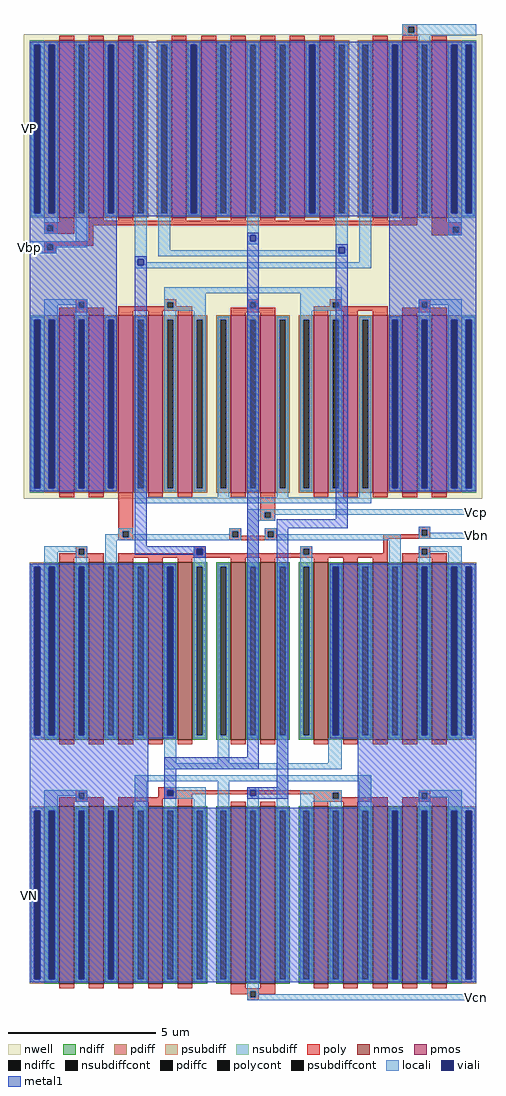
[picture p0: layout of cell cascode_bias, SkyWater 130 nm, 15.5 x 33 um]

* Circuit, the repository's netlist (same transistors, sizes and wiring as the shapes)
* SPICE3 file created from cascode_bias_copy.ext - technology: sky130A


* Top level circuit cascode_bias_copy

X0 a_860_30# Vbp VP VP sky130_fd_pr__pfet_01v8 ad=3e+12p pd=1.3e+07u as=3.6e+13p ps=1.56e+08u w=6e+06u l=500000u
X1 a_300_n1830# a_100_n3500# VP VP sky130_fd_pr__pfet_01v8 ad=1.2e+13p pd=5.2e+07u as=0p ps=0u w=6e+06u l=500000u
X2 a_300_n1830# Vcp Vcp VP sky130_fd_pr__pfet_01v8 ad=0p pd=0u as=3e+12p ps=1.3e+07u w=6e+06u l=500000u
X3 VN Vbn Vbn VN sky130_fd_pr__nfet_01v8 ad=4.2e+13p pd=1.82e+08u as=6e+12p ps=2.6e+07u w=6e+06u l=500000u
X4 a_200_n5180# a_200_n5180# a_300_n5150# VN sky130_fd_pr__nfet_01v8 ad=1.2e+13p pd=5.2e+07u as=1.2e+13p ps=5.2e+07u w=6e+06u l=500000u
X5 VP Vbp Vbp VP sky130_fd_pr__pfet_01v8 ad=0p pd=0u as=6e+12p ps=2.6e+07u w=6e+06u l=500000u
X6 a_100_n3500# a_100_n3500# a_300_n1830# VP sky130_fd_pr__pfet_01v8 ad=1.2e+13p pd=5.2e+07u as=0p ps=0u w=6e+06u l=500000u
X7 a_100_n3500# VN VN VN sky130_fd_pr__nfet_01v8 ad=6e+12p pd=2.6e+07u as=0p ps=0u w=6e+06u l=500000u
X8 a_1820_n3500# Vbn VN VN sky130_fd_pr__nfet_01v8 ad=3e+12p pd=1.3e+07u as=0p ps=0u w=6e+06u l=500000u
X9 a_200_n5180# a_200_n5180# a_200_n5180# VN sky130_fd_pr__nfet_01v8 ad=0p pd=0u as=0p ps=0u w=6e+06u l=500000u
X10 Vbp VP VP VP sky130_fd_pr__pfet_01v8 ad=0p pd=0u as=0p ps=0u w=6e+06u l=500000u
X11 Vbp Vbp VP VP sky130_fd_pr__pfet_01v8 ad=0p pd=0u as=0p ps=0u w=6e+06u l=500000u
X12 a_1260_30# Vbp a_200_n5180# VP sky130_fd_pr__pfet_01v8 ad=3e+12p pd=1.3e+07u as=3e+12p ps=1.3e+07u w=6e+06u l=500000u
X13 a_100_n3500# a_100_n3500# a_100_n3500# VP sky130_fd_pr__pfet_01v8 ad=0p pd=0u as=0p ps=0u w=6e+06u l=500000u
X14 a_100_n3500# Vbn a_1820_n3500# VN sky130_fd_pr__nfet_01v8 ad=0p pd=0u as=0p ps=0u w=6e+06u l=500000u
X15 VN VN VN VN sky130_fd_pr__nfet_01v8 ad=0p pd=0u as=0p ps=0u w=6e+06u l=500000u
X16 a_200_n5180# Vbp a_860_30# VP sky130_fd_pr__pfet_01v8 ad=0p pd=0u as=0p ps=0u w=6e+06u l=500000u
X17 VP VP VP VP sky130_fd_pr__pfet_01v8 ad=0p pd=0u as=0p ps=0u w=6e+06u l=500000u
X18 VN Vbn Vcp VN sky130_fd_pr__nfet_01v8 ad=0p pd=0u as=3e+12p ps=1.3e+07u w=6e+06u l=500000u
X19 VN VN VN VN sky130_fd_pr__nfet_01v8 ad=0p pd=0u as=0p ps=0u w=6e+06u l=500000u
X20 a_300_n3500# Vbn a_100_n3500# VN sky130_fd_pr__nfet_01v8 ad=3e+12p pd=1.3e+07u as=0p ps=0u w=6e+06u l=500000u
X21 VN VN VN VN sky130_fd_pr__nfet_01v8 ad=0p pd=0u as=0p ps=0u w=6e+06u l=500000u
X22 VP Vbp Vbn VP sky130_fd_pr__pfet_01v8 ad=0p pd=0u as=6e+12p ps=2.6e+07u w=6e+06u l=500000u
X23 VP VP VP VP sky130_fd_pr__pfet_01v8 ad=0p pd=0u as=0p ps=0u w=6e+06u l=500000u
X24 VP VP VP VP sky130_fd_pr__pfet_01v8 ad=0p pd=0u as=0p ps=0u w=6e+06u l=500000u
X25 VN Vbn a_300_n3500# VN sky130_fd_pr__nfet_01v8 ad=0p pd=0u as=0p ps=0u w=6e+06u l=500000u
X26 Vcn Vcn a_300_n5150# VN sky130_fd_pr__nfet_01v8 ad=3e+12p pd=1.3e+07u as=0p ps=0u w=6e+06u l=500000u
X27 VP VP Vbp VP sky130_fd_pr__pfet_01v8 ad=0p pd=0u as=0p ps=0u w=6e+06u l=500000u
X28 Vbn Vbn VN VN sky130_fd_pr__nfet_01v8 ad=0p pd=0u as=0p ps=0u w=6e+06u l=500000u
X29 VP Vbp a_1260_30# VP sky130_fd_pr__pfet_01v8 ad=0p pd=0u as=0p ps=0u w=6e+06u l=500000u
X30 Vcp Vcp a_300_n1830# VP sky130_fd_pr__pfet_01v8 ad=0p pd=0u as=0p ps=0u w=6e+06u l=500000u
X31 VP Vbp Vcn VP sky130_fd_pr__pfet_01v8 ad=0p pd=0u as=6e+12p ps=2.6e+07u w=6e+06u l=500000u
X32 VN VN a_100_n3500# VN sky130_fd_pr__nfet_01v8 ad=0p pd=0u as=0p ps=0u w=6e+06u l=500000u
X33 a_200_n5180# a_200_n5180# a_200_n5180# VN sky130_fd_pr__nfet_01v8 ad=0p pd=0u as=0p ps=0u w=6e+06u l=500000u
X34 Vbn Vbp VP VP sky130_fd_pr__pfet_01v8 ad=0p pd=0u as=0p ps=0u w=6e+06u l=500000u
X35 VN VN VN VN sky130_fd_pr__nfet_01v8 ad=0p pd=0u as=0p ps=0u w=6e+06u l=500000u
X36 VN VN VN VN sky130_fd_pr__nfet_01v8 ad=0p pd=0u as=0p ps=0u w=6e+06u l=500000u
X37 a_300_n5150# a_200_n5180# a_200_n5180# VN sky130_fd_pr__nfet_01v8 ad=0p pd=0u as=0p ps=0u w=6e+06u l=500000u
X38 a_100_n3500# a_100_n3500# a_100_n3500# VP sky130_fd_pr__pfet_01v8 ad=0p pd=0u as=0p ps=0u w=6e+06u l=500000u
X39 VN VN VN VN sky130_fd_pr__nfet_01v8 ad=0p pd=0u as=0p ps=0u w=6e+06u l=500000u
X40 VP VP VP VP sky130_fd_pr__pfet_01v8 ad=0p pd=0u as=0p ps=0u w=6e+06u l=500000u
X41 VN a_200_n5180# a_300_n5150# VN sky130_fd_pr__nfet_01v8 ad=0p pd=0u as=0p ps=0u w=6e+06u l=500000u
X42 a_300_n1830# a_100_n3500# a_100_n3500# VP sky130_fd_pr__pfet_01v8 ad=0p pd=0u as=0p ps=0u w=6e+06u l=500000u
X43 Vcp Vbn VN VN sky130_fd_pr__nfet_01v8 ad=0p pd=0u as=0p ps=0u w=6e+06u l=500000u
X44 a_300_n5150# Vcn Vcn VN sky130_fd_pr__nfet_01v8 ad=0p pd=0u as=0p ps=0u w=6e+06u l=500000u
X45 Vcn Vbp VP VP sky130_fd_pr__pfet_01v8 ad=0p pd=0u as=0p ps=0u w=6e+06u l=500000u
X46 VP a_100_n3500# a_300_n1830# VP sky130_fd_pr__pfet_01v8 ad=0p pd=0u as=0p ps=0u w=6e+06u l=500000u
X47 a_300_n5150# a_200_n5180# VN VN sky130_fd_pr__nfet_01v8 ad=0p pd=0u as=0p ps=0u w=6e+06u l=500000u
.end

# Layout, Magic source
magic
tech sky130A
<< nwell >>
rect -220 -935 1330 635
<< nmos >>
rect -100 -1750 -50 -1150
rect 0 -1750 50 -1150
rect 100 -1750 150 -1150
rect 200 -1750 250 -1150
rect 300 -1750 350 -1150
rect 480 -1750 530 -1150
rect 580 -1750 630 -1150
rect 760 -1750 810 -1150
rect 860 -1750 910 -1150
rect 960 -1750 1010 -1150
rect 1060 -1750 1110 -1150
rect 1160 -1750 1210 -1150
rect -100 -2575 -50 -1975
rect 0 -2575 50 -1975
rect 100 -2575 150 -1975
rect 200 -2575 250 -1975
rect 300 -2575 350 -1975
rect 480 -2575 530 -1975
rect 580 -2575 630 -1975
rect 760 -2575 810 -1975
rect 860 -2575 910 -1975
rect 960 -2575 1010 -1975
rect 1060 -2575 1110 -1975
rect 1160 -2575 1210 -1975
<< pmos >>
rect -100 15 -50 615
rect 0 15 50 615
rect 100 15 150 615
rect 280 15 330 615
rect 380 15 430 615
rect 480 15 530 615
rect 580 15 630 615
rect 680 15 730 615
rect 780 15 830 615
rect 960 15 1010 615
rect 1060 15 1110 615
rect 1160 15 1210 615
rect -100 -915 -50 -315
rect 0 -915 50 -315
rect 100 -915 150 -315
rect 200 -915 250 -315
rect 300 -915 350 -315
rect 480 -915 530 -315
rect 580 -915 630 -315
rect 760 -915 810 -315
rect 860 -915 910 -315
rect 960 -915 1010 -315
rect 1060 -915 1110 -315
rect 1160 -915 1210 -315
<< ndiff >>
rect -150 -1165 -100 -1150
rect -150 -1735 -135 -1165
rect -115 -1735 -100 -1165
rect -150 -1750 -100 -1735
rect -50 -1165 0 -1150
rect -50 -1735 -35 -1165
rect -15 -1735 0 -1165
rect -50 -1750 0 -1735
rect 50 -1165 100 -1150
rect 50 -1735 65 -1165
rect 85 -1735 100 -1165
rect 50 -1750 100 -1735
rect 150 -1165 200 -1150
rect 150 -1735 165 -1165
rect 185 -1735 200 -1165
rect 150 -1750 200 -1735
rect 250 -1165 300 -1150
rect 250 -1735 265 -1165
rect 285 -1735 300 -1165
rect 250 -1750 300 -1735
rect 350 -1165 400 -1150
rect 350 -1735 365 -1165
rect 385 -1735 400 -1165
rect 350 -1750 400 -1735
rect 430 -1165 480 -1150
rect 430 -1735 445 -1165
rect 465 -1735 480 -1165
rect 430 -1750 480 -1735
rect 530 -1165 580 -1150
rect 530 -1735 545 -1165
rect 565 -1735 580 -1165
rect 530 -1750 580 -1735
rect 630 -1165 680 -1150
rect 630 -1735 645 -1165
rect 665 -1735 680 -1165
rect 630 -1750 680 -1735
rect 710 -1165 760 -1150
rect 710 -1735 725 -1165
rect 745 -1735 760 -1165
rect 710 -1750 760 -1735
rect 810 -1165 860 -1150
rect 810 -1735 825 -1165
rect 845 -1735 860 -1165
rect 810 -1750 860 -1735
rect 910 -1165 960 -1150
rect 910 -1735 925 -1165
rect 945 -1735 960 -1165
rect 910 -1750 960 -1735
rect 1010 -1165 1060 -1150
rect 1010 -1735 1025 -1165
rect 1045 -1735 1060 -1165
rect 1010 -1750 1060 -1735
rect 1110 -1165 1160 -1150
rect 1110 -1735 1125 -1165
rect 1145 -1735 1160 -1165
rect 1110 -1750 1160 -1735
rect 1210 -1165 1260 -1150
rect 1210 -1735 1225 -1165
rect 1245 -1735 1260 -1165
rect 1210 -1750 1260 -1735
rect -150 -1990 -100 -1975
rect -150 -2560 -135 -1990
rect -115 -2560 -100 -1990
rect -150 -2575 -100 -2560
rect -50 -1990 0 -1975
rect -50 -2560 -35 -1990
rect -15 -2560 0 -1990
rect -50 -2575 0 -2560
rect 50 -1990 100 -1975
rect 50 -2560 65 -1990
rect 85 -2560 100 -1990
rect 50 -2575 100 -2560
rect 150 -1990 200 -1975
rect 150 -2560 165 -1990
rect 185 -2560 200 -1990
rect 150 -2575 200 -2560
rect 250 -1990 300 -1975
rect 250 -2560 265 -1990
rect 285 -2560 300 -1990
rect 250 -2575 300 -2560
rect 350 -1990 400 -1975
rect 350 -2560 365 -1990
rect 385 -2560 400 -1990
rect 350 -2575 400 -2560
rect 430 -1990 480 -1975
rect 430 -2560 445 -1990
rect 465 -2560 480 -1990
rect 430 -2575 480 -2560
rect 530 -1990 580 -1975
rect 530 -2560 545 -1990
rect 565 -2560 580 -1990
rect 530 -2575 580 -2560
rect 630 -1990 680 -1975
rect 630 -2560 645 -1990
rect 665 -2560 680 -1990
rect 630 -2575 680 -2560
rect 710 -1990 760 -1975
rect 710 -2560 725 -1990
rect 745 -2560 760 -1990
rect 710 -2575 760 -2560
rect 810 -1990 860 -1975
rect 810 -2560 825 -1990
rect 845 -2560 860 -1990
rect 810 -2575 860 -2560
rect 910 -1990 960 -1975
rect 910 -2560 925 -1990
rect 945 -2560 960 -1990
rect 910 -2575 960 -2560
rect 1010 -1990 1060 -1975
rect 1010 -2560 1025 -1990
rect 1045 -2560 1060 -1990
rect 1010 -2575 1060 -2560
rect 1110 -1990 1160 -1975
rect 1110 -2560 1125 -1990
rect 1145 -2560 1160 -1990
rect 1110 -2575 1160 -2560
rect 1210 -1990 1260 -1975
rect 1210 -2560 1225 -1990
rect 1245 -2560 1260 -1990
rect 1210 -2575 1260 -2560
<< pdiff >>
rect -150 600 -100 615
rect -150 30 -135 600
rect -115 30 -100 600
rect -150 15 -100 30
rect -50 600 0 615
rect -50 30 -35 600
rect -15 30 0 600
rect -50 15 0 30
rect 50 600 100 615
rect 50 30 65 600
rect 85 30 100 600
rect 50 15 100 30
rect 150 600 200 615
rect 150 30 165 600
rect 185 30 200 600
rect 150 15 200 30
rect 230 600 280 615
rect 230 30 245 600
rect 265 30 280 600
rect 230 15 280 30
rect 330 600 380 615
rect 330 30 345 600
rect 365 30 380 600
rect 330 15 380 30
rect 430 600 480 615
rect 430 30 445 600
rect 465 30 480 600
rect 430 15 480 30
rect 530 600 580 615
rect 530 30 545 600
rect 565 30 580 600
rect 530 15 580 30
rect 630 600 680 615
rect 630 30 645 600
rect 665 30 680 600
rect 630 15 680 30
rect 730 600 780 615
rect 730 30 745 600
rect 765 30 780 600
rect 730 15 780 30
rect 830 600 880 615
rect 830 30 845 600
rect 865 30 880 600
rect 830 15 880 30
rect 910 600 960 615
rect 910 30 925 600
rect 945 30 960 600
rect 910 15 960 30
rect 1010 600 1060 615
rect 1010 30 1025 600
rect 1045 30 1060 600
rect 1010 15 1060 30
rect 1110 600 1160 615
rect 1110 30 1125 600
rect 1145 30 1160 600
rect 1110 15 1160 30
rect 1210 600 1260 615
rect 1210 30 1225 600
rect 1245 30 1260 600
rect 1210 15 1260 30
rect -150 -330 -100 -315
rect -150 -900 -135 -330
rect -115 -900 -100 -330
rect -150 -915 -100 -900
rect -50 -330 0 -315
rect -50 -900 -35 -330
rect -15 -900 0 -330
rect -50 -915 0 -900
rect 50 -330 100 -315
rect 50 -900 65 -330
rect 85 -900 100 -330
rect 50 -915 100 -900
rect 150 -330 200 -315
rect 150 -900 165 -330
rect 185 -900 200 -330
rect 150 -915 200 -900
rect 250 -330 300 -315
rect 250 -900 265 -330
rect 285 -900 300 -330
rect 250 -915 300 -900
rect 350 -330 400 -315
rect 350 -900 365 -330
rect 385 -900 400 -330
rect 350 -915 400 -900
rect 430 -330 480 -315
rect 430 -900 445 -330
rect 465 -900 480 -330
rect 430 -915 480 -900
rect 530 -330 580 -315
rect 530 -900 545 -330
rect 565 -900 580 -330
rect 530 -915 580 -900
rect 630 -330 680 -315
rect 630 -900 645 -330
rect 665 -900 680 -330
rect 630 -915 680 -900
rect 710 -330 760 -315
rect 710 -900 725 -330
rect 745 -900 760 -330
rect 710 -915 760 -900
rect 810 -330 860 -315
rect 810 -900 825 -330
rect 845 -900 860 -330
rect 810 -915 860 -900
rect 910 -330 960 -315
rect 910 -900 925 -330
rect 945 -900 960 -330
rect 910 -915 960 -900
rect 1010 -330 1060 -315
rect 1010 -900 1025 -330
rect 1045 -900 1060 -330
rect 1010 -915 1060 -900
rect 1110 -330 1160 -315
rect 1110 -900 1125 -330
rect 1145 -900 1160 -330
rect 1110 -915 1160 -900
rect 1210 -330 1260 -315
rect 1210 -900 1225 -330
rect 1245 -900 1260 -330
rect 1210 -915 1260 -900
<< ndiffc >>
rect -135 -1735 -115 -1165
rect -35 -1735 -15 -1165
rect 65 -1735 85 -1165
rect 165 -1735 185 -1165
rect 265 -1735 285 -1165
rect 365 -1735 385 -1165
rect 445 -1735 465 -1165
rect 545 -1735 565 -1165
rect 645 -1735 665 -1165
rect 725 -1735 745 -1165
rect 825 -1735 845 -1165
rect 925 -1735 945 -1165
rect 1025 -1735 1045 -1165
rect 1125 -1735 1145 -1165
rect 1225 -1735 1245 -1165
rect -135 -2560 -115 -1990
rect -35 -2560 -15 -1990
rect 65 -2560 85 -1990
rect 165 -2560 185 -1990
rect 265 -2560 285 -1990
rect 365 -2560 385 -1990
rect 445 -2560 465 -1990
rect 545 -2560 565 -1990
rect 645 -2560 665 -1990
rect 725 -2560 745 -1990
rect 825 -2560 845 -1990
rect 925 -2560 945 -1990
rect 1025 -2560 1045 -1990
rect 1125 -2560 1145 -1990
rect 1225 -2560 1245 -1990
<< pdiffc >>
rect -135 30 -115 600
rect -35 30 -15 600
rect 65 30 85 600
rect 165 30 185 600
rect 245 30 265 600
rect 345 30 365 600
rect 445 30 465 600
rect 545 30 565 600
rect 645 30 665 600
rect 745 30 765 600
rect 845 30 865 600
rect 925 30 945 600
rect 1025 30 1045 600
rect 1125 30 1145 600
rect 1225 30 1245 600
rect -135 -900 -115 -330
rect -35 -900 -15 -330
rect 65 -900 85 -330
rect 165 -900 185 -330
rect 265 -900 285 -330
rect 365 -900 385 -330
rect 445 -900 465 -330
rect 545 -900 565 -330
rect 645 -900 665 -330
rect 725 -900 745 -330
rect 825 -900 845 -330
rect 925 -900 945 -330
rect 1025 -900 1045 -330
rect 1125 -900 1145 -330
rect 1225 -900 1245 -330
<< psubdiff >>
rect -200 -1165 -150 -1150
rect -200 -1735 -185 -1165
rect -165 -1735 -150 -1165
rect -200 -1750 -150 -1735
rect 1260 -1165 1310 -1150
rect 1260 -1735 1275 -1165
rect 1295 -1735 1310 -1165
rect 1260 -1750 1310 -1735
rect -200 -1990 -150 -1975
rect -200 -2560 -185 -1990
rect -165 -2560 -150 -1990
rect -200 -2575 -150 -2560
rect 1260 -1990 1310 -1975
rect 1260 -2560 1275 -1990
rect 1295 -2560 1310 -1990
rect 1260 -2575 1310 -2560
<< nsubdiff >>
rect -200 600 -150 615
rect -200 30 -185 600
rect -165 30 -150 600
rect -200 15 -150 30
rect 1260 600 1310 615
rect 1260 30 1275 600
rect 1295 30 1310 600
rect 1260 15 1310 30
rect -200 -330 -150 -315
rect -200 -900 -185 -330
rect -165 -900 -150 -330
rect -200 -915 -150 -900
rect 1260 -330 1310 -315
rect 1260 -900 1275 -330
rect 1295 -900 1310 -330
rect 1260 -915 1310 -900
<< psubdiffcont >>
rect -185 -1735 -165 -1165
rect 1275 -1735 1295 -1165
rect -185 -2560 -165 -1990
rect 1275 -2560 1295 -1990
<< nsubdiffcont >>
rect -185 30 -165 600
rect 1275 30 1295 600
rect -185 -900 -165 -330
rect 1275 -900 1295 -330
<< poly >>
rect 1060 660 1110 670
rect 1060 640 1080 660
rect 1100 640 1110 660
rect -100 615 -50 630
rect 0 615 50 630
rect 100 615 150 630
rect 280 615 330 630
rect 380 615 430 630
rect 480 615 530 630
rect 580 615 630 630
rect 680 615 730 630
rect 780 615 830 630
rect 960 615 1010 630
rect 1060 615 1110 640
rect 1160 615 1210 630
rect -100 0 -50 15
rect -150 -10 -50 0
rect -150 -30 -140 -10
rect -120 -30 -50 -10
rect -150 -40 -50 -30
rect 0 5 50 15
rect 100 5 150 15
rect 280 5 330 15
rect 380 5 430 15
rect 480 5 530 15
rect 580 5 630 15
rect 680 5 730 15
rect 780 5 830 15
rect 960 5 1010 15
rect 1060 5 1110 15
rect 0 -10 1110 5
rect 1160 0 1210 15
rect 0 -65 15 -10
rect 1160 -15 1260 0
rect 1160 -35 1230 -15
rect 1250 -35 1260 -15
rect 1160 -45 1260 -35
rect -150 -75 15 -65
rect -150 -95 -140 -75
rect -120 -80 15 -75
rect -120 -95 -110 -80
rect -150 -105 -110 -95
rect -45 -270 -5 -260
rect -45 -290 -35 -270
rect -15 -290 -5 -270
rect 255 -270 295 -260
rect 255 -285 265 -270
rect 100 -290 265 -285
rect 285 -285 295 -270
rect 535 -270 575 -260
rect 285 -290 350 -285
rect 535 -290 545 -270
rect 565 -290 575 -270
rect 815 -270 855 -260
rect 815 -285 825 -270
rect 760 -290 825 -285
rect 845 -285 855 -270
rect 1115 -270 1155 -260
rect 845 -290 1010 -285
rect 1115 -290 1125 -270
rect 1145 -290 1155 -270
rect -100 -305 50 -290
rect -100 -315 -50 -305
rect 0 -315 50 -305
rect 100 -300 350 -290
rect 100 -315 150 -300
rect 200 -315 250 -300
rect 300 -315 350 -300
rect 480 -305 630 -290
rect 480 -315 530 -305
rect 580 -315 630 -305
rect 760 -300 1010 -290
rect 760 -315 810 -300
rect 860 -315 910 -300
rect 960 -315 1010 -300
rect 1060 -305 1210 -290
rect 1060 -315 1110 -305
rect 1160 -315 1210 -305
rect -100 -930 -50 -915
rect 0 -930 50 -915
rect 100 -1045 150 -915
rect 200 -930 250 -915
rect 300 -930 350 -915
rect 480 -930 530 -915
rect 580 -980 630 -915
rect 760 -930 810 -915
rect 860 -930 910 -915
rect 960 -930 1010 -915
rect 1060 -930 1110 -915
rect 1160 -930 1210 -915
rect 580 -1000 595 -980
rect 615 -1000 630 -980
rect 580 -1010 630 -1000
rect 100 -1065 115 -1045
rect 135 -1065 150 -1045
rect 100 -1075 150 -1065
rect 475 -1045 515 -1035
rect 475 -1065 485 -1045
rect 505 -1060 515 -1045
rect 595 -1045 635 -1035
rect 595 -1060 605 -1045
rect 505 -1065 605 -1060
rect 625 -1065 635 -1045
rect 1115 -1040 1155 -1030
rect 1115 -1055 1125 -1040
rect 475 -1075 635 -1065
rect 995 -1060 1125 -1055
rect 1145 -1060 1155 -1040
rect 995 -1070 1155 -1060
rect -45 -1105 -5 -1095
rect -45 -1120 -35 -1105
rect -100 -1125 -35 -1120
rect -15 -1120 -5 -1105
rect 355 -1105 395 -1095
rect 355 -1120 365 -1105
rect -15 -1125 50 -1120
rect -100 -1135 50 -1125
rect -100 -1150 -50 -1135
rect 0 -1150 50 -1135
rect 100 -1125 365 -1120
rect 385 -1120 395 -1105
rect 715 -1105 755 -1095
rect 715 -1120 725 -1105
rect 385 -1125 725 -1120
rect 745 -1120 755 -1105
rect 995 -1120 1010 -1070
rect 1115 -1105 1155 -1095
rect 1115 -1120 1125 -1105
rect 745 -1125 1010 -1120
rect 100 -1135 1010 -1125
rect 100 -1150 150 -1135
rect 200 -1150 250 -1135
rect 300 -1150 350 -1135
rect 480 -1150 530 -1135
rect 580 -1150 630 -1135
rect 760 -1150 810 -1135
rect 860 -1150 910 -1135
rect 960 -1150 1010 -1135
rect 1060 -1125 1125 -1120
rect 1145 -1120 1155 -1105
rect 1145 -1125 1210 -1120
rect 1060 -1135 1210 -1125
rect 1060 -1150 1110 -1135
rect 1160 -1150 1210 -1135
rect -100 -1765 -50 -1750
rect 0 -1765 50 -1750
rect 100 -1765 150 -1750
rect 200 -1765 250 -1750
rect 300 -1765 350 -1750
rect 480 -1765 530 -1750
rect 580 -1765 630 -1750
rect 760 -1765 810 -1750
rect 860 -1765 910 -1750
rect 960 -1765 1010 -1750
rect 1060 -1765 1110 -1750
rect 1160 -1765 1210 -1750
rect 235 -1920 295 -1910
rect -45 -1930 -5 -1920
rect -45 -1945 -35 -1930
rect -100 -1950 -35 -1945
rect -15 -1945 -5 -1930
rect 235 -1940 265 -1920
rect 285 -1930 855 -1920
rect 285 -1935 825 -1930
rect 285 -1940 350 -1935
rect 235 -1945 350 -1940
rect -15 -1950 50 -1945
rect -100 -1960 50 -1950
rect -100 -1975 -50 -1960
rect 0 -1975 50 -1960
rect 100 -1950 350 -1945
rect 100 -1960 250 -1950
rect 100 -1975 150 -1960
rect 200 -1975 250 -1960
rect 300 -1975 350 -1950
rect 760 -1950 825 -1935
rect 845 -1945 855 -1930
rect 1115 -1930 1155 -1920
rect 1115 -1945 1125 -1930
rect 845 -1950 1010 -1945
rect 760 -1960 1010 -1950
rect 480 -1975 530 -1960
rect 580 -1975 630 -1960
rect 760 -1975 810 -1960
rect 860 -1975 910 -1960
rect 960 -1975 1010 -1960
rect 1060 -1950 1125 -1945
rect 1145 -1945 1155 -1930
rect 1145 -1950 1210 -1945
rect 1060 -1960 1210 -1950
rect 1060 -1975 1110 -1960
rect 1160 -1975 1210 -1960
rect -100 -2590 -50 -2575
rect 0 -2590 50 -2575
rect 100 -2590 150 -2575
rect 200 -2590 250 -2575
rect 300 -2590 350 -2575
rect 480 -2590 530 -2575
rect 580 -2590 630 -2575
rect 760 -2590 810 -2575
rect 860 -2590 910 -2575
rect 960 -2590 1010 -2575
rect 1060 -2590 1110 -2575
rect 1160 -2590 1210 -2575
rect 480 -2600 630 -2590
rect 480 -2610 545 -2600
rect 535 -2620 545 -2610
rect 565 -2610 630 -2600
rect 565 -2620 575 -2610
rect 535 -2630 575 -2620
<< polycont >>
rect 1080 640 1100 660
rect -140 -30 -120 -10
rect 1230 -35 1250 -15
rect -140 -95 -120 -75
rect -35 -290 -15 -270
rect 265 -290 285 -270
rect 545 -290 565 -270
rect 825 -290 845 -270
rect 1125 -290 1145 -270
rect 595 -1000 615 -980
rect 115 -1065 135 -1045
rect 485 -1065 505 -1045
rect 605 -1065 625 -1045
rect 1125 -1060 1145 -1040
rect -35 -1125 -15 -1105
rect 365 -1125 385 -1105
rect 725 -1125 745 -1105
rect 1125 -1125 1145 -1105
rect -35 -1950 -15 -1930
rect 265 -1940 285 -1920
rect 825 -1950 845 -1930
rect 1125 -1950 1145 -1930
rect 545 -2620 565 -2600
<< locali >>
rect 1060 660 1310 670
rect 1060 640 1080 660
rect 1100 640 1310 660
rect 1060 630 1310 640
rect -195 600 -105 610
rect -195 30 -185 600
rect -165 30 -135 600
rect -115 30 -105 600
rect -195 20 -105 30
rect -150 -10 -105 20
rect -150 -30 -140 -10
rect -120 -30 -105 -10
rect -150 -40 -105 -30
rect -45 600 -5 610
rect -45 30 -35 600
rect -15 30 -5 600
rect -45 -65 -5 30
rect 55 600 95 610
rect 55 30 65 600
rect 85 30 95 600
rect 55 20 95 30
rect 155 600 195 610
rect 155 30 165 600
rect 185 30 195 600
rect -200 -75 -5 -65
rect -200 -95 -140 -75
rect -120 -85 -5 -75
rect -120 -95 -110 -85
rect -200 -105 -110 -95
rect 155 -125 195 30
rect 235 600 275 610
rect 235 30 245 600
rect 265 30 275 600
rect 235 -95 275 30
rect 335 600 375 610
rect 335 30 345 600
rect 365 30 375 600
rect 335 25 375 30
rect 435 600 475 610
rect 435 30 445 600
rect 465 30 475 600
rect 435 20 475 30
rect 535 600 575 610
rect 535 30 545 600
rect 565 30 575 600
rect 535 -45 575 30
rect 635 600 675 610
rect 635 30 645 600
rect 665 30 675 600
rect 635 20 675 30
rect 735 600 775 610
rect 735 30 745 600
rect 765 30 775 600
rect 735 25 775 30
rect 835 600 875 610
rect 835 30 845 600
rect 865 30 875 600
rect 535 -65 545 -45
rect 565 -65 575 -45
rect 535 -75 575 -65
rect 835 -85 875 30
rect 835 -95 845 -85
rect 235 -105 845 -95
rect 865 -105 875 -85
rect 235 -115 875 -105
rect 915 600 955 610
rect 915 30 925 600
rect 945 30 955 600
rect 155 -145 165 -125
rect 185 -135 195 -125
rect 915 -135 955 30
rect 1015 600 1055 610
rect 1015 30 1025 600
rect 1045 30 1055 600
rect 1015 20 1055 30
rect 1115 600 1155 630
rect 1115 30 1125 600
rect 1145 30 1155 600
rect 1115 20 1155 30
rect 1215 600 1305 610
rect 1215 30 1225 600
rect 1245 30 1275 600
rect 1295 30 1305 600
rect 1215 20 1305 30
rect 1215 -15 1260 20
rect 1215 -35 1230 -15
rect 1250 -35 1260 -15
rect 1215 -45 1260 -35
rect 185 -145 955 -135
rect 155 -155 955 -145
rect 255 -240 855 -220
rect -150 -270 -5 -260
rect -150 -280 -35 -270
rect -150 -320 -105 -280
rect -195 -330 -105 -320
rect -195 -900 -185 -330
rect -165 -900 -135 -330
rect -115 -900 -105 -330
rect -195 -910 -105 -900
rect -45 -290 -35 -280
rect -15 -290 -5 -270
rect -45 -330 -5 -290
rect 255 -270 395 -240
rect 255 -290 265 -270
rect 285 -290 395 -270
rect 255 -300 395 -290
rect -45 -900 -35 -330
rect -15 -900 -5 -330
rect -45 -910 -5 -900
rect 55 -330 95 -320
rect 55 -900 65 -330
rect 85 -900 95 -330
rect 55 -910 95 -900
rect 155 -330 195 -320
rect 155 -900 165 -330
rect 185 -900 195 -330
rect 155 -930 195 -900
rect 255 -330 295 -300
rect 255 -900 265 -330
rect 285 -900 295 -330
rect 255 -910 295 -900
rect 355 -330 395 -300
rect 535 -270 575 -260
rect 535 -290 545 -270
rect 565 -290 575 -270
rect 355 -900 365 -330
rect 385 -900 395 -330
rect 355 -910 395 -900
rect 435 -330 475 -320
rect 435 -900 445 -330
rect 465 -900 475 -330
rect 435 -930 475 -900
rect 535 -330 575 -290
rect 715 -270 855 -240
rect 715 -290 825 -270
rect 845 -290 855 -270
rect 715 -300 855 -290
rect 535 -900 545 -330
rect 565 -900 575 -330
rect 535 -910 575 -900
rect 635 -330 675 -320
rect 635 -900 645 -330
rect 665 -900 675 -330
rect 635 -930 675 -900
rect 715 -330 755 -300
rect 715 -900 725 -330
rect 745 -900 755 -330
rect 715 -910 755 -900
rect 815 -330 855 -300
rect 1115 -270 1260 -260
rect 1115 -290 1125 -270
rect 1145 -280 1260 -270
rect 1145 -290 1155 -280
rect 815 -900 825 -330
rect 845 -900 855 -330
rect 815 -910 855 -900
rect 915 -330 955 -320
rect 915 -900 925 -330
rect 945 -900 955 -330
rect 915 -930 955 -900
rect 1015 -330 1055 -320
rect 1015 -900 1025 -330
rect 1045 -900 1055 -330
rect 1015 -910 1055 -900
rect 1115 -330 1155 -290
rect 1115 -900 1125 -330
rect 1145 -900 1155 -330
rect 1115 -910 1155 -900
rect 1215 -320 1260 -280
rect 1215 -330 1305 -320
rect 1215 -900 1225 -330
rect 1245 -900 1275 -330
rect 1295 -900 1305 -330
rect 1215 -910 1305 -900
rect 155 -950 955 -930
rect 535 -980 1310 -970
rect 535 -1000 595 -980
rect 615 -990 1310 -980
rect 615 -1000 630 -990
rect 535 -1010 630 -1000
rect 100 -1045 150 -1035
rect 100 -1055 115 -1045
rect 55 -1065 115 -1055
rect 135 -1055 150 -1045
rect 475 -1045 515 -1035
rect 475 -1055 485 -1045
rect 135 -1065 485 -1055
rect 505 -1065 515 -1045
rect 55 -1075 515 -1065
rect -150 -1105 -5 -1095
rect -150 -1115 -35 -1105
rect -150 -1155 -105 -1115
rect -195 -1165 -105 -1155
rect -195 -1735 -185 -1165
rect -165 -1735 -135 -1165
rect -115 -1735 -105 -1165
rect -195 -1745 -105 -1735
rect -45 -1125 -35 -1115
rect -15 -1125 -5 -1105
rect -45 -1165 -5 -1125
rect -45 -1735 -35 -1165
rect -15 -1735 -5 -1165
rect -45 -1745 -5 -1735
rect 55 -1165 95 -1075
rect 355 -1105 395 -1095
rect 355 -1125 365 -1105
rect 385 -1125 395 -1105
rect 55 -1735 65 -1165
rect 85 -1735 95 -1165
rect 55 -1745 95 -1735
rect 155 -1165 195 -1155
rect 155 -1735 165 -1165
rect 185 -1735 195 -1165
rect 155 -1745 195 -1735
rect 255 -1165 295 -1155
rect 255 -1735 265 -1165
rect 285 -1735 295 -1165
rect 255 -1830 295 -1735
rect 355 -1165 395 -1125
rect 355 -1735 365 -1165
rect 385 -1735 395 -1165
rect 355 -1745 395 -1735
rect 435 -1165 475 -1155
rect 435 -1735 445 -1165
rect 465 -1735 475 -1165
rect 435 -1830 475 -1735
rect 535 -1165 575 -1010
rect 595 -1045 635 -1035
rect 595 -1065 605 -1045
rect 625 -1055 635 -1045
rect 1115 -1040 1155 -1030
rect 625 -1065 1055 -1055
rect 595 -1075 1055 -1065
rect 1115 -1060 1125 -1040
rect 1145 -1050 1155 -1040
rect 1145 -1060 1310 -1050
rect 1115 -1070 1310 -1060
rect 715 -1105 755 -1095
rect 715 -1125 725 -1105
rect 745 -1125 755 -1105
rect 535 -1735 545 -1165
rect 565 -1735 575 -1165
rect 535 -1745 575 -1735
rect 635 -1165 675 -1155
rect 635 -1735 645 -1165
rect 665 -1735 675 -1165
rect 635 -1830 675 -1735
rect 715 -1165 755 -1125
rect 715 -1735 725 -1165
rect 745 -1735 755 -1165
rect 715 -1745 755 -1735
rect 815 -1165 855 -1155
rect 815 -1735 825 -1165
rect 845 -1735 855 -1165
rect 815 -1745 855 -1735
rect 915 -1165 955 -1155
rect 915 -1735 925 -1165
rect 945 -1735 955 -1165
rect 915 -1745 955 -1735
rect 1015 -1165 1055 -1075
rect 1015 -1735 1025 -1165
rect 1045 -1735 1055 -1165
rect 1015 -1745 1055 -1735
rect 1115 -1105 1260 -1095
rect 1115 -1125 1125 -1105
rect 1145 -1115 1260 -1105
rect 1145 -1125 1155 -1115
rect 1115 -1165 1155 -1125
rect 1115 -1735 1125 -1165
rect 1145 -1735 1155 -1165
rect 1115 -1745 1155 -1735
rect 1215 -1155 1260 -1115
rect 1215 -1165 1305 -1155
rect 1215 -1735 1225 -1165
rect 1245 -1735 1275 -1165
rect 1295 -1735 1305 -1165
rect 1215 -1745 1305 -1735
rect 810 -1830 855 -1745
rect 255 -1850 855 -1830
rect 155 -1890 955 -1870
rect -150 -1930 -5 -1920
rect -150 -1940 -35 -1930
rect -150 -1980 -105 -1940
rect -45 -1950 -35 -1940
rect -15 -1950 -5 -1930
rect -45 -1960 -5 -1950
rect -195 -1990 -105 -1980
rect -195 -2560 -185 -1990
rect -165 -2560 -135 -1990
rect -115 -2560 -105 -1990
rect -195 -2570 -105 -2560
rect -45 -1990 -5 -1980
rect -45 -2560 -35 -1990
rect -15 -2560 -5 -1990
rect -45 -2570 -5 -2560
rect 55 -1990 95 -1980
rect 55 -2560 65 -1990
rect 85 -2560 95 -1990
rect 55 -2570 95 -2560
rect 155 -1990 195 -1890
rect 155 -2560 165 -1990
rect 185 -2560 195 -1990
rect 155 -2570 195 -2560
rect 255 -1920 395 -1910
rect 255 -1940 265 -1920
rect 285 -1940 395 -1920
rect 255 -1950 395 -1940
rect 255 -1990 295 -1950
rect 255 -2560 265 -1990
rect 285 -2560 295 -1990
rect 255 -2570 295 -2560
rect 355 -1990 395 -1950
rect 355 -2560 365 -1990
rect 385 -2560 395 -1990
rect 355 -2570 395 -2560
rect 435 -1990 475 -1890
rect 435 -2560 445 -1990
rect 465 -2560 475 -1990
rect 435 -2570 475 -2560
rect 535 -1920 575 -1910
rect 535 -1940 545 -1920
rect 565 -1940 575 -1920
rect 535 -1990 575 -1940
rect 535 -2560 545 -1990
rect 565 -2560 575 -1990
rect 535 -2600 575 -2560
rect 635 -1990 675 -1890
rect 635 -2560 645 -1990
rect 665 -2560 675 -1990
rect 635 -2570 675 -2560
rect 715 -1930 855 -1920
rect 715 -1950 825 -1930
rect 845 -1950 855 -1930
rect 715 -1960 855 -1950
rect 715 -1990 755 -1960
rect 715 -2560 725 -1990
rect 745 -2560 755 -1990
rect 715 -2570 755 -2560
rect 815 -1990 855 -1960
rect 815 -2560 825 -1990
rect 845 -2560 855 -1990
rect 815 -2570 855 -2560
rect 915 -1990 955 -1890
rect 1115 -1930 1260 -1920
rect 1115 -1950 1125 -1930
rect 1145 -1945 1260 -1930
rect 1145 -1950 1155 -1945
rect 915 -2560 925 -1990
rect 945 -2560 955 -1990
rect 915 -2570 955 -2560
rect 1015 -1990 1055 -1980
rect 1015 -2560 1025 -1990
rect 1045 -2560 1055 -1990
rect 1015 -2570 1055 -2560
rect 1115 -1990 1155 -1950
rect 1115 -2560 1125 -1990
rect 1145 -2560 1155 -1990
rect 1115 -2570 1155 -2560
rect 1215 -1980 1260 -1945
rect 1215 -1990 1305 -1980
rect 1215 -2560 1225 -1990
rect 1245 -2560 1275 -1990
rect 1295 -2560 1305 -1990
rect 1215 -2570 1305 -2560
rect 535 -2620 545 -2600
rect 565 -2610 575 -2600
rect 565 -2620 1310 -2610
rect 535 -2630 1310 -2620
<< viali >>
rect -185 30 -165 600
rect -135 30 -115 600
rect 65 30 85 600
rect 345 30 365 600
rect 745 30 765 600
rect 545 -65 565 -45
rect 845 -105 865 -85
rect 165 -145 185 -125
rect 1025 30 1045 600
rect 1225 30 1245 600
rect 1275 30 1295 600
rect -185 -900 -165 -330
rect -135 -900 -115 -330
rect -35 -900 -15 -330
rect 65 -900 85 -330
rect 1025 -900 1045 -330
rect 1125 -900 1145 -330
rect 1225 -900 1245 -330
rect 1275 -900 1295 -330
rect -185 -1735 -165 -1165
rect -135 -1735 -115 -1165
rect -35 -1735 -15 -1165
rect 365 -1125 385 -1105
rect 265 -1735 285 -1165
rect 825 -1735 845 -1165
rect 1125 -1735 1145 -1165
rect 1225 -1735 1245 -1165
rect 1275 -1735 1295 -1165
rect -185 -2560 -165 -1990
rect -135 -2560 -115 -1990
rect -35 -2560 -15 -1990
rect 65 -2560 85 -1990
rect 265 -1940 285 -1920
rect 545 -1940 565 -1920
rect 1025 -2560 1045 -1990
rect 1125 -2560 1145 -1990
rect 1225 -2560 1245 -1990
rect 1275 -2560 1295 -1990
<< metal1 >>
rect -200 600 1310 610
rect -200 30 -185 600
rect -165 30 -135 600
rect -115 30 65 600
rect 85 30 345 600
rect 365 30 745 600
rect 765 30 1025 600
rect 1045 30 1225 600
rect 1245 30 1275 600
rect 1295 30 1310 600
rect -200 20 1310 30
rect -200 -330 95 20
rect 535 -45 575 -35
rect 535 -65 545 -45
rect 565 -65 575 -45
rect -200 -900 -185 -330
rect -165 -900 -135 -330
rect -115 -900 -35 -330
rect -15 -900 65 -330
rect 85 -900 95 -330
rect -200 -910 95 -900
rect 155 -125 195 -115
rect 155 -145 165 -125
rect 185 -145 195 -125
rect 155 -1095 195 -145
rect 155 -1105 395 -1095
rect 155 -1125 365 -1105
rect 385 -1125 395 -1105
rect 355 -1135 395 -1125
rect -200 -1165 295 -1155
rect -200 -1735 -185 -1165
rect -165 -1735 -135 -1165
rect -115 -1735 -35 -1165
rect -15 -1735 265 -1165
rect 285 -1735 295 -1165
rect -200 -1745 295 -1735
rect -200 -1980 200 -1745
rect 535 -1810 575 -65
rect 835 -85 875 -75
rect 835 -105 845 -85
rect 865 -105 875 -85
rect 835 -1005 875 -105
rect 1015 -330 1310 20
rect 1015 -900 1025 -330
rect 1045 -900 1125 -330
rect 1145 -900 1225 -330
rect 1245 -900 1275 -330
rect 1295 -900 1310 -330
rect 1015 -910 1310 -900
rect 255 -1850 575 -1810
rect 635 -1035 875 -1005
rect 255 -1920 295 -1850
rect 635 -1910 675 -1035
rect 815 -1165 1310 -1155
rect 815 -1735 825 -1165
rect 845 -1735 1125 -1165
rect 1145 -1735 1225 -1165
rect 1245 -1735 1275 -1165
rect 1295 -1735 1310 -1165
rect 815 -1745 1310 -1735
rect 255 -1940 265 -1920
rect 285 -1940 295 -1920
rect 255 -1950 295 -1940
rect 535 -1920 675 -1910
rect 535 -1940 545 -1920
rect 565 -1940 675 -1920
rect 535 -1950 675 -1940
rect 910 -1980 1310 -1745
rect -200 -1990 1310 -1980
rect -200 -2560 -185 -1990
rect -165 -2560 -135 -1990
rect -115 -2560 -35 -1990
rect -15 -2560 65 -1990
rect 85 -2560 1025 -1990
rect 1045 -2560 1125 -1990
rect 1145 -2560 1225 -1990
rect 1245 -2560 1275 -1990
rect 1295 -2560 1310 -1990
rect -200 -2570 1310 -2560
<< labels >>
rlabel locali -200 -85 -200 -85 7 Vbp
port 3 w
rlabel metal1 -200 315 -200 315 7 VP
port 1 w
rlabel metal1 -200 -2275 -200 -2275 7 VN
port 2 w
rlabel locali 1310 -2620 1310 -2620 3 Vcn
port 4 e
rlabel locali 1310 -1060 1310 -1060 3 Vbn
port 5 e
rlabel locali 1310 -980 1310 -980 3 Vcp
port 6 e
<< end >>
